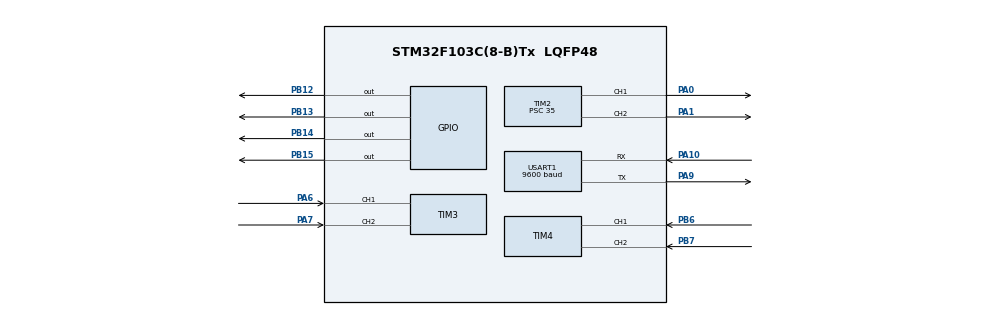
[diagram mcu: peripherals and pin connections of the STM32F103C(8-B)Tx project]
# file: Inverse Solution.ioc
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FREERTOS.Tasks01=PIDTask,3,512,StartPIDTask,Default,NULL,Dynamic,NULL,NULL;BluetoothTask,0,512,StartBluetoothTask,Default,NULL,Dynamic,NULL,NULL
FREERTOS.configTOTAL_HEAP_SIZE=5120
Mcu.Family=STM32F1
Mcu.Name=STM32F103C(8-B)Tx
Mcu.Package=LQFP48
NVIC.PriorityGroup=NVIC_PRIORITYGROUP_4
NVIC.TIM1_UP_IRQn=true\:15\:0\:false\:false\:true\:false\:false\:true\:true
NVIC.TimeBase=TIM1_UP_IRQn
NVIC.TimeBaseIP=TIM1
PA0-WKUP.Signal=S_TIM2_CH1_ETR
PA1.Signal=S_TIM2_CH2
PA10.Mode=Asynchronous
PA10.Signal=USART1_RX
PA13.Mode=Serial_Wire
PA13.Signal=SYS_JTMS-SWDIO
PA14.Mode=Serial_Wire
PA14.Signal=SYS_JTCK-SWCLK
PA6.Signal=S_TIM3_CH1
PA7.Signal=S_TIM3_CH2
PA9.Mode=Asynchronous
PA9.Signal=USART1_TX
PB12.Signal=GPIO_Output
PB13.Signal=GPIO_Output
PB14.Signal=GPIO_Output
PB15.Signal=GPIO_Output
PB6.Signal=S_TIM4_CH1
PB7.Signal=S_TIM4_CH2
ProjectManager.HeapSize=0x200
ProjectManager.StackSize=0x400
ProjectManager.TargetToolchain=MDK-ARM V5.32
RCC.APB1Freq_Value=8000000
RCC.APB2Freq_Value=8000000
SH.S_TIM2_CH1_ETR.0=TIM2_CH1,PWM Generation1 CH1
SH.S_TIM2_CH2.0=TIM2_CH2,PWM Generation2 CH2
SH.S_TIM3_CH1.0=TIM3_CH1,Encoder_Interface
SH.S_TIM3_CH2.0=TIM3_CH2,Encoder_Interface
SH.S_TIM4_CH1.0=TIM4_CH1,Encoder_Interface
SH.S_TIM4_CH2.0=TIM4_CH2,Encoder_Interface
TIM2.Channel-PWM\ Generation1\ CH1=TIM_CHANNEL_1
TIM2.Channel-PWM\ Generation2\ CH2=TIM_CHANNEL_2
TIM2.Period=99
TIM2.Prescaler=35
TIM3.EncoderMode=TIM_ENCODERMODE_TI12
TIM3.IC1Filter=15
TIM3.IC2Filter=15
TIM3.IC2Polarity=TIM_ICPOLARITY_FALLING
TIM4.EncoderMode=TIM_ENCODERMODE_TI12
TIM4.IC1Filter=15
TIM4.IC2Filter=15
TIM4.IC2Polarity=TIM_ICPOLARITY_FALLING
USART1.BaudRate=9600
USART1.VirtualMode=VM_ASYNC
VP_FREERTOS_VS_CMSIS_V1.Mode=CMSIS_V1
VP_SYS_VS_tim1.Mode=TIM1
VP_TIM2_VS_ClockSourceINT.Mode=Internal
board=custom

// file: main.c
/* USER CODE BEGIN Header */
/**
  ******************************************************************************
  * @file           : main.c
  * @brief          : Main program body
  ******************************************************************************
  * @attention
  *
  * Copyright (c) 2026 STMicroelectronics.
  * All rights reserved.
  *
  * This software is licensed under terms that can be found in the LICENSE file
  * in the root directory of this software component.
  * If no LICENSE file comes with this software, it is provided AS-IS.
  *
  ******************************************************************************
  */
/* USER CODE END Header */
#include "main.h"
#include "cmsis_os.h"

/* USER CODE BEGIN Includes */
#include <stdio.h>
#include <string.h>
#include <math.h>
#include <stdlib.h>
/* USER CODE END Includes */

/* USER CODE BEGIN PD */
#ifndef M_PI
#define M_PI 3.1415926f
#endif
/* USER CODE END PD */

TIM_HandleTypeDef htim2;
TIM_HandleTypeDef htim3;
TIM_HandleTypeDef htim4;

UART_HandleTypeDef huart1;

osThreadId PIDTaskHandle;
osThreadId BluetoothTaskHandle;
/* USER CODE BEGIN PV */
PID_t lInner,lOuter; 								//双环PID�?�?变量
PID_t rInner,rOuter;                            	//双环PID�?�?变量
int32_t lSpeed, lLocation, rSpeed, rLocation;   	//双环PID�?�?变量
float x = 0,y = 0,L = 1.65f;                    	//目标坐标以及两轮轮距
Pose_t current_pose = {0.0f, 0.0f, 0.0f};       	//里程计参�?
uint8_t new_data_flag = 0;                      	// 1表示有新坐标到来
char rx_data[64];                               	// 串口接收缓冲
/* USER CODE END PV */

void SystemClock_Config(void);
static void MX_GPIO_Init(void);
static void MX_TIM2_Init(void);
static void MX_TIM3_Init(void);
static void MX_TIM4_Init(void);
static void MX_USART1_UART_Init(void);
void StartPIDTask(void const * argument);
void StartBluetoothTask(void const * argument);

/* USER CODE BEGIN 0 */
void PID_Update(PID_t *p)                            //单环PID计算函数
{
	p->Error1 = p->Error0;
	p->Error0 = p->Target - p->Actual;

	if (p->Ki != 0)
	{
		p->ErrorInt += p->Error0;
	}
	else
	{
		p->ErrorInt = 0;
	}

	p->Out = p->Kp * p->Error0
		   + p->Ki * p->ErrorInt
		   + p->Kd * (p->Error0 - p->Error1);

	if (p->Out > p->OutMax) {p->Out = p->OutMax;}
	if (p->Out < p->OutMin) {p->Out = p->OutMin;}

}

PID_t lInner = {									 //左轮内环速度环PID参数
	.Kp = 1.0,
	.Ki = 0.6,
	.Kd = 0,
	.OutMax = 100,
	.OutMin = -100,
};

PID_t lOuter = {									 //左轮外环位置环PID参数
	.Kp = 0.4,
	.Ki = 0,
	.Kd = 0.2,
	.OutMax = 100,
	.OutMin = -100,
};

PID_t rInner = {
	.Kp = 1.0,
	.Ki = 0.6,
	.Kd = 0,
	.OutMax = 100,
	.OutMin = -100,
};

PID_t rOuter = {
	.Kp = 0.4,
	.Ki = 0,
	.Kd = 0.2,
	.OutMax = 100,
	.OutMin = -100,
};
/* USER CODE END 0 */

int main(void)
{

  /* MCU Configuration--------------------------------------------------------*/

  /* Reset of all peripherals, Initializes the Flash interface and the Systick. */
  HAL_Init();

  /* Configure the system clock */
  SystemClock_Config();

  /* Initialize all configured peripherals */
  MX_GPIO_Init();
  MX_TIM2_Init();
  MX_TIM3_Init();
  MX_TIM4_Init();
  MX_USART1_UART_Init();
  /* USER CODE BEGIN 2 */
  HAL_TIM_PWM_Start(&htim2, TIM_CHANNEL_1);
  HAL_TIM_PWM_Start(&htim2, TIM_CHANNEL_2);
  HAL_TIM_Encoder_Start(&htim3, TIM_CHANNEL_ALL);
  HAL_TIM_Encoder_Start(&htim4, TIM_CHANNEL_ALL);
  /* USER CODE END 2 */

  /* Create the thread(s) */
  /* definition and creation of PIDTask */
  osThreadDef(PIDTask, StartPIDTask, osPriorityRealtime, 0, 512);
  PIDTaskHandle = osThreadCreate(osThread(PIDTask), NULL);

  /* definition and creation of BluetoothTask */
  osThreadDef(BluetoothTask, StartBluetoothTask, osPriorityNormal, 0, 512);
  BluetoothTaskHandle = osThreadCreate(osThread(BluetoothTask), NULL);

  /* Start scheduler */
  osKernelStart();

  /* We should never get here as control is now taken by the scheduler */

  /* Infinite loop */
  while (1)
  {

  }
}

void SystemClock_Config(void)
{
  RCC_OscInitTypeDef RCC_OscInitStruct = {0};
  RCC_ClkInitTypeDef RCC_ClkInitStruct = {0};

  /** Initializes the RCC Oscillators according to the specified parameters
  * in the RCC_OscInitTypeDef structure.
  */
  RCC_OscInitStruct.OscillatorType = RCC_OSCILLATORTYPE_HSI;
  RCC_OscInitStruct.HSIState = RCC_HSI_ON;
  RCC_OscInitStruct.HSICalibrationValue = RCC_HSICALIBRATION_DEFAULT;
  RCC_OscInitStruct.PLL.PLLState = RCC_PLL_NONE;
  if (HAL_RCC_OscConfig(&RCC_OscInitStruct) != HAL_OK)
  {
    Error_Handler();
  }

  /** Initializes the CPU, AHB and APB buses clocks
  */
  RCC_ClkInitStruct.ClockType = RCC_CLOCKTYPE_HCLK|RCC_CLOCKTYPE_SYSCLK
                              |RCC_CLOCKTYPE_PCLK1|RCC_CLOCKTYPE_PCLK2;
  RCC_ClkInitStruct.SYSCLKSource = RCC_SYSCLKSOURCE_HSI;
  RCC_ClkInitStruct.AHBCLKDivider = RCC_SYSCLK_DIV1;
  RCC_ClkInitStruct.APB1CLKDivider = RCC_HCLK_DIV1;
  RCC_ClkInitStruct.APB2CLKDivider = RCC_HCLK_DIV1;

  if (HAL_RCC_ClockConfig(&RCC_ClkInitStruct, FLASH_LATENCY_0) != HAL_OK)
  {
    Error_Handler();
  }
}

static void MX_TIM2_Init(void)
{

  TIM_ClockConfigTypeDef sClockSourceConfig = {0};
  TIM_MasterConfigTypeDef sMasterConfig = {0};
  TIM_OC_InitTypeDef sConfigOC = {0};

  htim2.Instance = TIM2;
  htim2.Init.Prescaler = 35;
  htim2.Init.CounterMode = TIM_COUNTERMODE_UP;
  htim2.Init.Period = 99;
  htim2.Init.ClockDivision = TIM_CLOCKDIVISION_DIV1;
  htim2.Init.AutoReloadPreload = TIM_AUTORELOAD_PRELOAD_DISABLE;
  if (HAL_TIM_Base_Init(&htim2) != HAL_OK)
  {
    Error_Handler();
  }
  sClockSourceConfig.ClockSource = TIM_CLOCKSOURCE_INTERNAL;
  if (HAL_TIM_ConfigClockSource(&htim2, &sClockSourceConfig) != HAL_OK)
  {
    Error_Handler();
  }
  if (HAL_TIM_PWM_Init(&htim2) != HAL_OK)
  {
    Error_Handler();
  }
  sMasterConfig.MasterOutputTrigger = TIM_TRGO_RESET;
  sMasterConfig.MasterSlaveMode = TIM_MASTERSLAVEMODE_DISABLE;
  if (HAL_TIMEx_MasterConfigSynchronization(&htim2, &sMasterConfig) != HAL_OK)
  {
    Error_Handler();
  }
  sConfigOC.OCMode = TIM_OCMODE_PWM1;
  sConfigOC.Pulse = 0;
  sConfigOC.OCPolarity = TIM_OCPOLARITY_HIGH;
  sConfigOC.OCFastMode = TIM_OCFAST_DISABLE;
  if (HAL_TIM_PWM_ConfigChannel(&htim2, &sConfigOC, TIM_CHANNEL_1) != HAL_OK)
  {
    Error_Handler();
  }
  if (HAL_TIM_PWM_ConfigChannel(&htim2, &sConfigOC, TIM_CHANNEL_2) != HAL_OK)
  {
    Error_Handler();
  }
  HAL_TIM_MspPostInit(&htim2);

}

static void MX_TIM3_Init(void)
{

  TIM_Encoder_InitTypeDef sConfig = {0};
  TIM_MasterConfigTypeDef sMasterConfig = {0};

  htim3.Instance = TIM3;
  htim3.Init.Prescaler = 0;
  htim3.Init.CounterMode = TIM_COUNTERMODE_UP;
  htim3.Init.Period = 65535;
  htim3.Init.ClockDivision = TIM_CLOCKDIVISION_DIV1;
  htim3.Init.AutoReloadPreload = TIM_AUTORELOAD_PRELOAD_DISABLE;
  sConfig.EncoderMode = TIM_ENCODERMODE_TI12;
  sConfig.IC1Polarity = TIM_ICPOLARITY_RISING;
  sConfig.IC1Selection = TIM_ICSELECTION_DIRECTTI;
  sConfig.IC1Prescaler = TIM_ICPSC_DIV1;
  sConfig.IC1Filter = 15;
  sConfig.IC2Polarity = TIM_ICPOLARITY_FALLING;
  sConfig.IC2Selection = TIM_ICSELECTION_DIRECTTI;
  sConfig.IC2Prescaler = TIM_ICPSC_DIV1;
  sConfig.IC2Filter = 15;
  if (HAL_TIM_Encoder_Init(&htim3, &sConfig) != HAL_OK)
  {
    Error_Handler();
  }
  sMasterConfig.MasterOutputTrigger = TIM_TRGO_RESET;
  sMasterConfig.MasterSlaveMode = TIM_MASTERSLAVEMODE_DISABLE;
  if (HAL_TIMEx_MasterConfigSynchronization(&htim3, &sMasterConfig) != HAL_OK)
  {
    Error_Handler();
  }

}

static void MX_TIM4_Init(void)
{

  TIM_Encoder_InitTypeDef sConfig = {0};
  TIM_MasterConfigTypeDef sMasterConfig = {0};

  htim4.Instance = TIM4;
  htim4.Init.Prescaler = 0;
  htim4.Init.CounterMode = TIM_COUNTERMODE_UP;
  htim4.Init.Period = 65535;
  htim4.Init.ClockDivision = TIM_CLOCKDIVISION_DIV1;
  htim4.Init.AutoReloadPreload = TIM_AUTORELOAD_PRELOAD_DISABLE;
  sConfig.EncoderMode = TIM_ENCODERMODE_TI12;
  sConfig.IC1Polarity = TIM_ICPOLARITY_RISING;
  sConfig.IC1Selection = TIM_ICSELECTION_DIRECTTI;
  sConfig.IC1Prescaler = TIM_ICPSC_DIV1;
  sConfig.IC1Filter = 15;
  sConfig.IC2Polarity = TIM_ICPOLARITY_FALLING;
  sConfig.IC2Selection = TIM_ICSELECTION_DIRECTTI;
  sConfig.IC2Prescaler = TIM_ICPSC_DIV1;
  sConfig.IC2Filter = 15;
  if (HAL_TIM_Encoder_Init(&htim4, &sConfig) != HAL_OK)
  {
    Error_Handler();
  }
  sMasterConfig.MasterOutputTrigger = TIM_TRGO_RESET;
  sMasterConfig.MasterSlaveMode = TIM_MASTERSLAVEMODE_DISABLE;
  if (HAL_TIMEx_MasterConfigSynchronization(&htim4, &sMasterConfig) != HAL_OK)
  {
    Error_Handler();
  }

}

static void MX_USART1_UART_Init(void)
{

  huart1.Instance = USART1;
  huart1.Init.BaudRate = 9600;
  huart1.Init.WordLength = UART_WORDLENGTH_8B;
  huart1.Init.StopBits = UART_STOPBITS_1;
  huart1.Init.Parity = UART_PARITY_NONE;
  huart1.Init.Mode = UART_MODE_TX_RX;
  huart1.Init.HwFlowCtl = UART_HWCONTROL_NONE;
  huart1.Init.OverSampling = UART_OVERSAMPLING_16;
  if (HAL_UART_Init(&huart1) != HAL_OK)
  {
    Error_Handler();
  }

}

static void MX_GPIO_Init(void)
{
  GPIO_InitTypeDef GPIO_InitStruct = {0};

  /* GPIO Ports Clock Enable */
  __HAL_RCC_GPIOA_CLK_ENABLE();
  __HAL_RCC_GPIOB_CLK_ENABLE();

  /*Configure GPIO pin Output Level */
  HAL_GPIO_WritePin(GPIOB, GPIO_PIN_12|GPIO_PIN_13|GPIO_PIN_14|GPIO_PIN_15, GPIO_PIN_RESET);

  /*Configure GPIO pins : PB12 PB13 PB14 PB15 */
  GPIO_InitStruct.Pin = GPIO_PIN_12|GPIO_PIN_13|GPIO_PIN_14|GPIO_PIN_15;
  GPIO_InitStruct.Mode = GPIO_MODE_OUTPUT_PP;
  GPIO_InitStruct.Pull = GPIO_NOPULL;
  GPIO_InitStruct.Speed = GPIO_SPEED_FREQ_LOW;
  HAL_GPIO_Init(GPIOB, &GPIO_InitStruct);

}

/* USER CODE BEGIN 4 */
//左轮PID
int32_t lEncoder_Get(void) {
    int32_t temp;
    temp = (short)__HAL_TIM_GET_COUNTER(&htim3);              				// 获取当前计数
    __HAL_TIM_SET_COUNTER(&htim3, 0);                         				// 计数值清�?
    return temp;
}

void lPWM_SetCompare1(uint16_t Compare) {
    __HAL_TIM_SET_COMPARE(&htim2, TIM_CHANNEL_1, Compare);
}

void lMotor_SetPWM(int16_t PWM)
{
	if (PWM >= 0)
	{
		HAL_GPIO_WritePin(GPIOB,GPIO_PIN_12,GPIO_PIN_RESET);
		HAL_GPIO_WritePin(GPIOB,GPIO_PIN_13,GPIO_PIN_SET);
		lPWM_SetCompare1(PWM);
	}
	else
	{
		HAL_GPIO_WritePin(GPIOB,GPIO_PIN_12,GPIO_PIN_SET);
		HAL_GPIO_WritePin(GPIOB,GPIO_PIN_13,GPIO_PIN_RESET);
		lPWM_SetCompare1(-PWM);
	}
}
void lPIDCalculate(int32_t speed_delta)
{
    lSpeed = speed_delta;
    lLocation += lSpeed;

    lOuter.Actual=lLocation;
    PID_Update(&lOuter);
    lInner.Target=lOuter.Out;

    lInner.Actual=lSpeed;
    PID_Update(&lInner);
    lMotor_SetPWM(lInner.Out);
}
//右轮PID
int32_t rEncoder_Get(void) {
    int32_t temp;
    temp = (short)__HAL_TIM_GET_COUNTER(&htim4);               				// 获取当前计数
    __HAL_TIM_SET_COUNTER(&htim4, 0);                          				// 计数值清�?
    return temp;
}
void rPWM_SetCompare1(uint16_t Compare) {
    __HAL_TIM_SET_COMPARE(&htim2, TIM_CHANNEL_2, Compare);
}
void rMotor_SetPWM(int16_t PWM)
{
	if (PWM >= 0)
	{
		HAL_GPIO_WritePin(GPIOB,GPIO_PIN_14,GPIO_PIN_SET);
		HAL_GPIO_WritePin(GPIOB,GPIO_PIN_15,GPIO_PIN_RESET);
		rPWM_SetCompare1(PWM);
	}
	else
	{
		HAL_GPIO_WritePin(GPIOB,GPIO_PIN_14,GPIO_PIN_RESET);
		HAL_GPIO_WritePin(GPIOB,GPIO_PIN_15,GPIO_PIN_SET);
		rPWM_SetCompare1(-PWM);
	}
}

void rPIDCalculate(int32_t speed_delta)										//双环PID计算函数
{
    rSpeed = speed_delta;
    rLocation += rSpeed;

    rOuter.Actual=rLocation;
    PID_Update(&rOuter);
    rInner.Target=rOuter.Out;

    rInner.Actual=rSpeed;
    PID_Update(&rInner);
    rMotor_SetPWM(rInner.Out);
}

void Update_Odometry(int32_t delta_left, int32_t delta_right) {  			//里程计系统计算函数，计算出小车实时坐标和角度
    float dL = (float)delta_left / 660.0f;
    float dR = (float)delta_right / 660.0f;

    float dD = (dL + dR) / 2.0f;
    float dTheta = (dL - dR) / L;

    current_pose.x += dD * sinf(current_pose.theta + dTheta/2.0f);
    current_pose.y += dD * cosf(current_pose.theta + dTheta/2.0f);

    current_pose.theta += dTheta;

    if (current_pose.theta > M_PI) current_pose.theta -= 2.0f * M_PI;
    if (current_pose.theta < -M_PI) current_pose.theta += 2.0f * M_PI;
}
/* USER CODE END 4 */

void StartPIDTask(void const * argument)
{
  /* USER CODE BEGIN 5 */
  /* Infinite loop */
  int base_step = 50;																//路径规划算法所必需的基步，以实现纯追踪算法条件之一：小车两轮速度始终成一定比例
  for(;;)
  {
	int32_t dL = lEncoder_Get(); 													//获取每次左轮移动的微小距离
    int32_t dR = rEncoder_Get();													//获取每次右轮移动的微小距离
    Update_Odometry(dL, dR);														//里程计坐标角度计算

	float dx = x - current_pose.x;
    float dy = y - current_pose.y;
	float x_local = dx * cosf(current_pose.theta) - dy * sinf(current_pose.theta);  //本地坐标：始终以小车为原点，小车方向为y轴的坐标，实现坐标闭环的关键
    float y_local = dx * sinf(current_pose.theta) + dy * cosf(current_pose.theta);  //本地坐标：始终以小车为原点，小车方向为y轴的坐标，实现坐标闭环的关键
	float distance = sqrtf(x_local * x_local + y_local * y_local);					//本地距离：小车相对目标坐标的实时距离

	if (distance < 0.2f) {															//到达坐标，强制停�?
		lOuter.Target = lLocation;
		rOuter.Target = rLocation;
		lOuter.ErrorInt = 0;
        rOuter.ErrorInt = 0;
        lInner.ErrorInt = 0;
        rInner.ErrorInt = 0;
    }
	else {
		if (y_local >= fabsf(x_local)) {											//坐标在前�?90°视角
			float curvature = (2.0f * x_local) / (distance * distance);				//曲率�?1/R，引入是为了让小车两轮子速度成比例，R涉及纯追踪算�?
			float left_ratio = 1.0f + (curvature * L / 2.0f);						//left_ratio/right_ratio为纯追踪算法比例系数
			float right_ratio = 1.0f - (curvature * L / 2.0f);						//left_ratio/right_ratio为纯追踪算法比例系数
			if (left_ratio > 2.0f) left_ratio = 2.0f;								//转弯限幅，防止了单边轮子速度过高导致抽搐或反�?
			if (left_ratio < 0.2f) left_ratio = 0.2f;
			if (right_ratio > 2.0f) right_ratio = 2.0f;
			if (right_ratio < 0.2f) right_ratio = 0.2f;
			lOuter.Target += left_ratio * base_step; 								//纯追踪算法条件之二：小测两轮距离成一定比例；路径规划算法，使小车两轮速度始终成一定比�?
			rOuter.Target += right_ratio * base_step; 								//纯追踪算法条件之二：小测两轮距离成一定比例；路径规划算法，使小车两轮速度始终成一定比�?
		}
		else {																		//坐标不在前方90°视角，转弯直至目标坐标出现在前方90°视角
			if (x_local > 0) {
				lOuter.Target += 0.5f * base_step;
				rOuter.Target -= 0.5f * base_step;
			} else {
				lOuter.Target -= 0.5f * base_step;
				rOuter.Target += 0.5f * base_step;
			}
		}
	}
    lPIDCalculate(dL);																//PID计算
    rPIDCalculate(dR);

	osDelay(40);
  }
  /* USER CODE END 5 */
}

void StartBluetoothTask(void const * argument)
{
  /* USER CODE BEGIN StartBluetoothTask */
  /* Infinite loop */
  uint8_t rx_buf[1];
  int i = 0;
  for(;;)
  {
    if(HAL_UART_Receive(&huart1, rx_buf, 1, 10) == HAL_OK) 							//手机蓝牙输入num1空格num2即可赋�?�给x和y让小车走到目标坐�?
    {
        if(rx_buf[0] == '\r' || rx_buf[0] == '\n')
        {
            rx_data[i] = '\0';
            if(i > 0)
            {
                char *endptr;
                x = strtod(rx_data, &endptr);
                y = strtod(endptr, NULL);
				char buffer[64];
				int len = sprintf(buffer, "%.2f,%.2f\n", x, y);
				HAL_UART_Transmit(&huart1, (uint8_t*)buffer, len, 100);
            }
            i = 0;
        }
        else if(i < 63)
        {
            rx_data[i++] = rx_buf[0];
        }
    }
    osDelay(1);
  }
  /* USER CODE END StartBluetoothTask */
}

void HAL_TIM_PeriodElapsedCallback(TIM_HandleTypeDef *htim)
{
  if (htim->Instance == TIM1) {
    HAL_IncTick();
  }
}

void Error_Handler(void)
{
  __disable_irq();
  while (1)
  {
  }
}

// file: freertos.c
/* USER CODE BEGIN Header */
/**
  ******************************************************************************
  * File Name          : freertos.c
  * Description        : Code for freertos applications
  ******************************************************************************
  * @attention
  *
  * Copyright (c) 2026 STMicroelectronics.
  * All rights reserved.
  *
  * This software is licensed under terms that can be found in the LICENSE file
  * in the root directory of this software component.
  * If no LICENSE file comes with this software, it is provided AS-IS.
  *
  ******************************************************************************
  */
/* USER CODE END Header */

#include "FreeRTOS.h"
#include "task.h"
#include "main.h"

/* GetIdleTaskMemory prototype (linked to static allocation support) */
void vApplicationGetIdleTaskMemory( StaticTask_t **ppxIdleTaskTCBBuffer, StackType_t **ppxIdleTaskStackBuffer, uint32_t *pulIdleTaskStackSize );

/* USER CODE BEGIN GET_IDLE_TASK_MEMORY */
static StaticTask_t xIdleTaskTCBBuffer;
static StackType_t xIdleStack[configMINIMAL_STACK_SIZE];

void vApplicationGetIdleTaskMemory( StaticTask_t **ppxIdleTaskTCBBuffer, StackType_t **ppxIdleTaskStackBuffer, uint32_t *pulIdleTaskStackSize )
{
  *ppxIdleTaskTCBBuffer = &xIdleTaskTCBBuffer;
  *ppxIdleTaskStackBuffer = &xIdleStack[0];
  *pulIdleTaskStackSize = configMINIMAL_STACK_SIZE;
  /* place for user code */
}
/* USER CODE END GET_IDLE_TASK_MEMORY */
